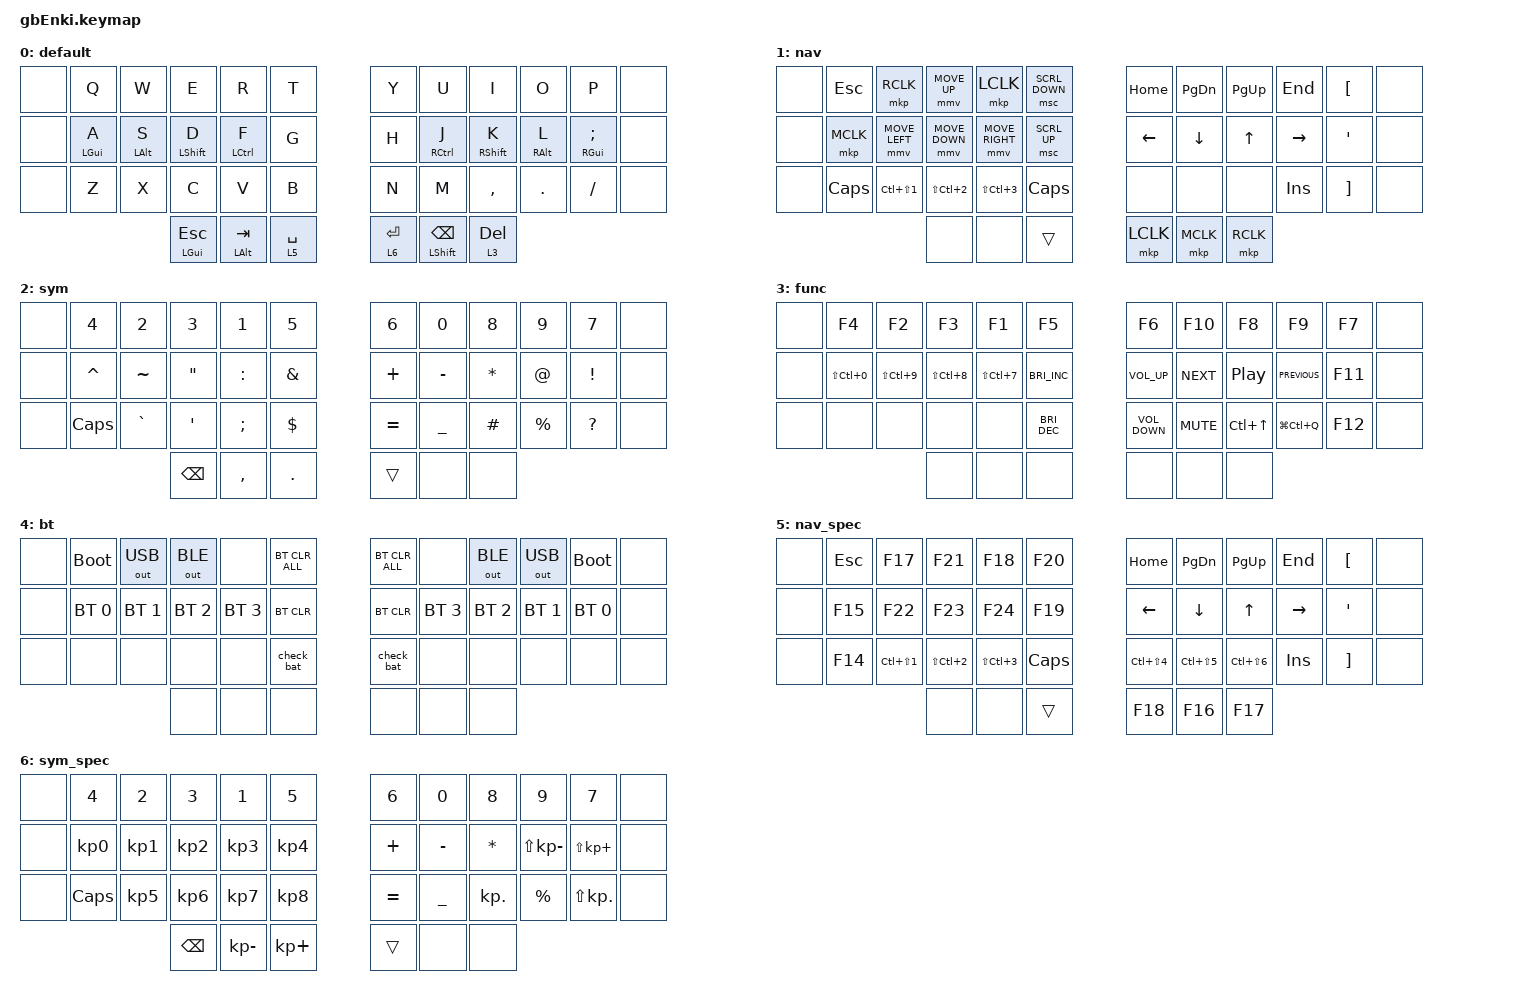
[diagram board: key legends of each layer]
/*
 * Copyright (c) 2020 The ZMK Contributors
 *
 * SPDX-License-Identifier: MIT
 */

#define ZMK_POINTING_DEFAULT_MOVE_VAL 1500
#define ZMK_POINTING_DEFAULT_SCRL_VAL 20

#include <behaviors.dtsi>
#include <dt-bindings/zmk/bt.h>
#include <dt-bindings/zmk/keys.h>
#include <dt-bindings/zmk/outputs.h>
#include <dt-bindings/zmk/pointing.h>

#define DEF 0
#define LWR 1
#define RSE 2
#define ADJ 3

&lt { quick_tap_ms = <220>; };

&lt { tapping-term-ms = <150>; };

&mt { quick_tap_ms = <220>; };

&mt { tapping-term-ms = <150>; };

/ {
    combos {
        compatible = "zmk,combos";

        a1 {
            bindings = <&kp LS(KP_NUMBER_0)>;
            key-positions = <16 15>;
        };

        a2 {
            bindings = <&kp LS(KP_NUMBER_1)>;
            key-positions = <19 20>;
        };

        b1 {
            bindings = <&kp LS(KP_NUMBER_2)>;
            key-positions = <14 15>;
        };

        b2 {
            bindings = <&kp LS(KP_NUMBER_3)>;
            key-positions = <20 21>;
        };

        c1 {
            bindings = <&kp LS(KP_NUMBER_4)>;
            key-positions = <28 27>;
        };

        c2 {
            bindings = <&kp LS(KP_NUMBER_5)>;
            key-positions = <31 32>;
        };

        d1 {
            bindings = <&kp LS(KP_NUMBER_8)>;
            key-positions = <17 16>;
        };

        d2 {
            bindings = <&kp LS(KP_NUMBER_9)>;
            key-positions = <18 19>;
        };

        caps_word {
            bindings = <&caps_word>;
            key-positions = <18 17>;
        };

        get_bt {
            bindings = <&mo 4>;
            key-positions = <36 41>;
        };

        e1 {
            bindings = <&kp LS(KP_NUMBER_6)>;
            key-positions = <27 26>;
        };

        e2 {
            bindings = <&kp LS(KP_NUMBER_7)>;
            key-positions = <32 33>;
        };

        esq_combo {
            bindings = <&kp ESCAPE>;
            key-positions = <3 4>;
        };

        del_combo {
            bindings = <&kp DELETE>;
            key-positions = <7 8>;
        };

        rus_letter_1 {
            bindings = <&kp LEFT_BRACKET>;
            key-positions = <7 10>;
        };

        rus_letter_2 {
            bindings = <&kp SINGLE_QUOTE>;
            key-positions = <19 22>;
        };

        rus_letter_3 {
            bindings = <&kp RIGHT_BRACKET>;
            key-positions = <31 34>;
        };

        left_bt {
            bindings = <&mo 4>;
            key-positions = <36 37>;
        };

        right_bt {
            bindings = <&mo 4>;
            key-positions = <41 40>;
        };
    };

    keymap {
        compatible = "zmk,keymap";

        default {
            bindings = <
&none  &kp Q           &kp W           &kp E                &kp R               &kp T          &kp Y        &kp U                     &kp I              &kp O            &kp P                    &none
&none  &mt LEFT_GUI A  &mt LEFT_ALT S  &mt LEFT_SHIFT D     &mt LEFT_CONTROL F  &kp G          &kp H        &mt RIGHT_CONTROL J       &mt RIGHT_SHIFT K  &mt RIGHT_ALT L  &mt RIGHT_GUI SEMICOLON  &none
&none  &kp Z           &kp X           &kp C                &kp V               &kp B          &kp N        &kp M                     &kp COMMA          &kp DOT          &kp SLASH                &none
                                       &mt LEFT_GUI ESCAPE  &mt LEFT_ALT TAB    &lt 5 SPACE    &lt 6 ENTER  &mt LEFT_SHIFT BACKSPACE  &lt 3 DEL
            >;
        };

        nav {
            bindings = <
&none  &kp ESCAPE    &mkp RCLK       &mmv MOVE_UP          &mkp LCLK             &msc SCRL_DOWN    &kp HOME        &kp PAGE_DOWN   &kp PAGE_UP   &kp END     &kp LEFT_BRACKET   &none
&none  &mkp MCLK     &mmv MOVE_LEFT  &mmv MOVE_DOWN        &mmv MOVE_RIGHT       &msc SCRL_UP      &kp LEFT_ARROW  &kp DOWN_ARROW  &kp UP_ARROW  &kp RIGHT   &kp SINGLE_QUOTE   &none
&none  &kp CAPSLOCK  &kp LC(LS(N1))  &kp LS(LC(NUMBER_2))  &kp LS(LC(NUMBER_3))  &kp CAPSLOCK      &none           &none           &none         &kp INSERT  &kp RIGHT_BRACKET  &none
                                     &none                 &none                 &trans            &mkp LCLK       &mkp MCLK       &mkp RCLK
            >;
        };

        sym {
            bindings = <
&none  &kp NUMBER_4  &kp NUMBER_2  &kp NUMBER_3       &kp NUMBER_1   &kp NUMBER_5     &kp NUMBER_6  &kp NUMBER_0    &kp NUMBER_8  &kp NUMBER_9  &kp NUMBER_7     &none
&none  &kp CARET     &kp TILDE     &kp DOUBLE_QUOTES  &kp COLON      &kp AMPERSAND    &kp PLUS      &kp MINUS       &kp ASTERISK  &kp AT_SIGN   &kp EXCLAMATION  &none
&none  &kp CAPSLOCK  &kp GRAVE     &kp SINGLE_QUOTE   &kp SEMICOLON  &kp DOLLAR       &kp EQUAL     &kp UNDERSCORE  &kp HASH      &kp PERCENT   &kp QUESTION     &none
                                   &kp BACKSPACE      &kp COMMA      &kp PERIOD       &trans        &none           &none
            >;
        };

        func {
            bindings = <
&none  &kp F4          &kp F2          &kp F3          &kp F1          &kp F5                  &kp F6             &kp F10     &kp F8            &kp F9          &kp F7   &none
&none  &kp LS(LC(N0))  &kp LS(LC(N9))  &kp LS(LC(N8))  &kp LS(LC(N7))  &kp C_BRIGHTNESS_INC    &kp C_VOLUME_UP    &kp C_NEXT  &kp C_PLAY_PAUSE  &kp C_PREVIOUS  &kp F11  &none
&none  &none           &none           &none           &none           &kp C_BRIGHTNESS_DEC    &kp C_VOLUME_DOWN  &kp C_MUTE  &kp LC(UP_ARROW)  &kp LG(LC(Q))   &kp F12  &none
                                       &none           &none           &none                   &none              &none       &none
            >;
        };

        bt {
            bindings = <
&none  &bootloader   &out OUT_USB  &out OUT_BLE  &none         &bt BT_CLR_ALL    &bt BT_CLR_ALL  &none         &out OUT_BLE  &out OUT_USB  &bootloader   &none
&none  &bt BT_SEL 0  &bt BT_SEL 1  &bt BT_SEL 2  &bt BT_SEL 3  &bt BT_CLR        &bt BT_CLR      &bt BT_SEL 3  &bt BT_SEL 2  &bt BT_SEL 1  &bt BT_SEL 0  &none
&none  &none         &none         &none         &none         &check_bat        &check_bat      &none         &none         &none         &none         &none
                                   &none         &none         &none             &none           &none         &none
            >;
        };

        nav_spec {
            bindings = <
&none  &kp ESCAPE  &kp F17         &kp F21               &kp F18               &kp F20         &kp HOME              &kp PAGE_DOWN         &kp PAGE_UP           &kp END     &kp LEFT_BRACKET   &none
&none  &kp F15     &kp F22         &kp F23               &kp F24               &kp F19         &kp LEFT_ARROW        &kp DOWN_ARROW        &kp UP_ARROW          &kp RIGHT   &kp SINGLE_QUOTE   &none
&none  &kp F14     &kp LC(LS(N1))  &kp LS(LC(NUMBER_2))  &kp LS(LC(NUMBER_3))  &kp CAPSLOCK    &kp LC(LS(NUMBER_4))  &kp LC(LS(NUMBER_5))  &kp LC(LS(NUMBER_6))  &kp INSERT  &kp RIGHT_BRACKET  &none
                                   &none                 &none                 &trans          &kp F18               &kp F16               &kp F17
            >;
        };

        sym_spec {
            bindings = <
&none  &kp NUMBER_4     &kp NUMBER_2     &kp NUMBER_3     &kp NUMBER_1     &kp NUMBER_5       &kp NUMBER_6  &kp NUMBER_0    &kp NUMBER_8  &kp NUMBER_9      &kp NUMBER_7     &none
&none  &kp KP_NUMBER_0  &kp KP_NUMBER_1  &kp KP_NUMBER_2  &kp KP_NUMBER_3  &kp KP_NUMBER_4    &kp PLUS      &kp MINUS       &kp ASTERISK  &kp LS(KP_MINUS)  &kp LS(KP_PLUS)  &none
&none  &kp CAPSLOCK     &kp KP_NUMBER_5  &kp KP_NUMBER_6  &kp KP_NUMBER_7  &kp KP_NUMBER_8    &kp EQUAL     &kp UNDERSCORE  &kp KP_DOT    &kp PERCENT       &kp LS(KP_DOT)   &none
                                         &kp BACKSPACE    &kp KP_MINUS     &kp KP_PLUS        &trans        &none           &none
            >;
        };
    };
};
